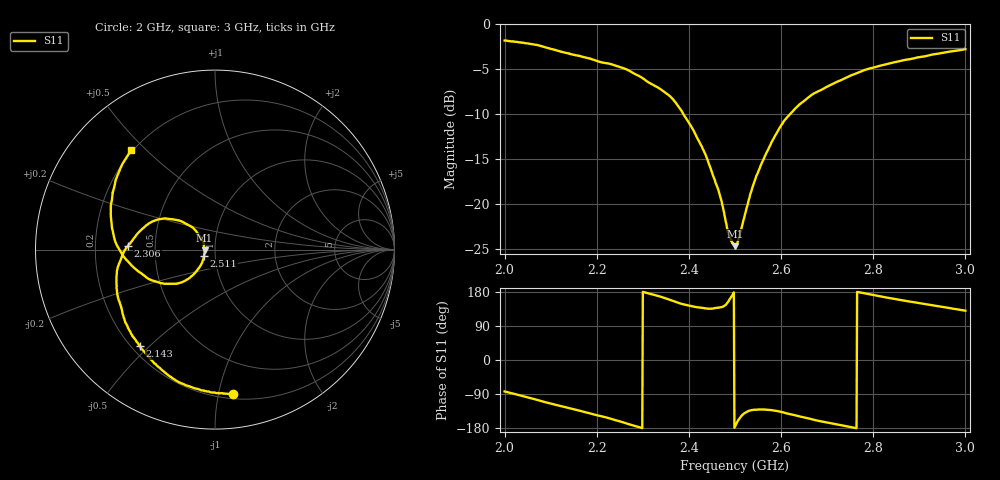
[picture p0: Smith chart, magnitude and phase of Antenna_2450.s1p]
! TTR506A,Tektronix,B010426,Application version 2.0.1.4ead5a2e Firmware version 066185400
! Freq ReS11 ImS11
# HZ S RI R 50
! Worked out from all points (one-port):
!   801 points, 2 GHz to 3 GHz, reference 50 ohm
!   lowest |S11| = -24.7 dB at 2.5 GHz (marker M1), VSWR 1.12, Z = 44.5 - j0.381 ohm
!   |S11| at or under -10 dB: 2.388 GHz to 2.62 GHz (231.7 MHz wide, 9.25 % of centre)
!   S11 on the Smith chart (normalised r, x): 2 GHz: 0.24, -1.10; 2.143 GHz: 0.23, -0.47; 2.306 GHz: 0.35, +0.02; 2.511 GHz: 0.88, -0.06; 3 GHz: 0.19, +0.45
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2e9  0.0991 -0.8038
2.0625e9  -0.1695 -0.7519
2.09e9  -0.2746 -0.6874
2.125e9  -0.3754 -0.5909
2.1425e9  -0.4163 -0.539
2.18875e9  -0.504 -0.3934
2.25e9  -0.5493 -0.1778
2.27e9  -0.5428 -0.0993
2.30625e9  -0.4863 0.0192
2.34875e9  -0.3975 0.1215
2.375e9  -0.3117 0.1689
2.4075e9  -0.2061 0.1636
2.43625e9  -0.135 0.1301
2.46625e9  -0.0858 0.0757
2.4875e9  -0.0627 0.0244
2.5e9  -0.0582 -0.00427
2.505e9  -0.0581 -0.0177
2.51125e9  -0.0615 -0.0332
2.5375e9  -0.0821 -0.0916
2.56e9  -0.1135 -0.1313
2.5975e9  -0.1929 -0.1847
2.625e9  -0.2655 -0.1901
2.67e9  -0.3777 -0.1583
2.75e9  -0.5161 -0.0289
2.8125e9  -0.5731 0.117
2.875e9  -0.5759 0.2682
2.92875e9  -0.5512 0.3936
3e9  -0.4675 0.5535
